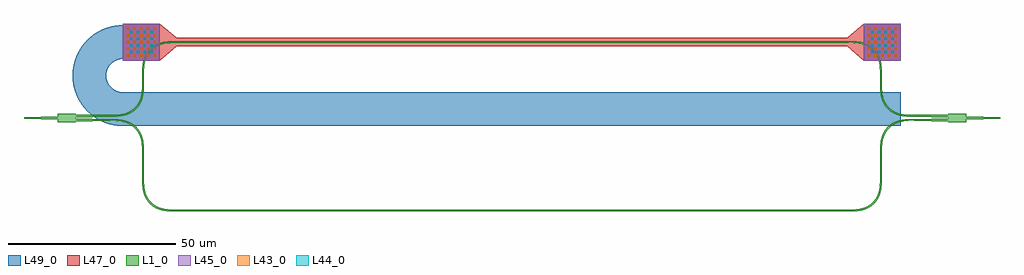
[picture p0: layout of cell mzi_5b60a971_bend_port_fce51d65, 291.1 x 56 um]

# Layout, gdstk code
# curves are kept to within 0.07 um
from math import pi, radians
import gdstk
lib = gdstk.Library(unit=1e-6, precision=1e-09)
def R(c, l, rs):  # rectangles x0, y0, x1, y1
    for r in rs: c.add(gdstk.rectangle(r[:2], r[2:], *l))
def P(c, l, *ps):  # polygons
    for p in ps: c.add(gdstk.Polygon(p, *l))
L1_0 = (1, 0)
L43_0 = (43, 0)
L44_0 = (44, 0)
L45_0 = (45, 0)
L47_0 = (47, 0)
L49_0 = (49, 0)

mmi1x2 = lib.new_cell('mmi1x2')
R(mmi1x2, L1_0, [(0,-1.25,5.5,1.25)])
P(mmi1x2, L1_0, [(-10,0.25),(0,0.5),(0,-0.5),(-10,-0.25)],
  [(15.5,0.375),(5.5,0.125),(5.5,1.125),(15.5,0.875)],
  [(15.5,-0.875),(5.5,-1.125),(5.5,-0.125),(15.5,-0.375)])

bend_euler = lib.new_cell('bend_euler')
P(bend_euler, L1_0, [(0,-0.25),(2.724,-0.165),(3.761,-0.026),(4.739,0.201),(5.691,0.544),(6.428,0.918),(7.158,1.402),(7.859,2.003),(8.479,2.689),(9.033,3.488),(9.456,4.309),(9.799,5.261),(10.026,6.239),(10.165,7.276),(10.25,10),(9.75,10),(9.634,7.004),(9.463,5.971),(9.18,4.971),(8.508,3.59),(7.575,2.425),(6.41,1.492),(5.029,0.82),(4.029,0.537),(2.996,0.366),(0,0.25)])

straight_a4be237b = lib.new_cell('straight_a4be237b')
R(straight_a4be237b, L1_0, [(0,-0.25,7,0.25)])

straight_bac520ba = lib.new_cell('straight_bac520ba')
R(straight_bac520ba, L1_0, [(0,-0.25,200,0.25)])

straight_fba69bc3 = lib.new_cell('straight_fba69bc3')
R(straight_fba69bc3, L1_0, [(0,-0.25,2,0.25)])

straight_656999d7 = lib.new_cell('straight_656999d7')
R(straight_656999d7, L1_0, [(0,-0.25,28,0.25)])
R(straight_656999d7, L47_0, [(0,-1.25,28,1.25)])

straight_7d548e91 = lib.new_cell('straight_7d548e91')
R(straight_7d548e91, L1_0, [(0,-0.25,30,0.25)])
R(straight_7d548e91, L47_0, [(0,-1.25,30,1.25)])

straight_295d0551 = lib.new_cell('straight_295d0551')
R(straight_295d0551, L1_0, [(0,-0.25,6,0.25)])
R(straight_295d0551, L47_0, [(0,-1.25,6,1.25)])

component_sequence_eb75e = lib.new_cell('component_sequence_eb75e3e9')
component_sequence_eb75e.add(gdstk.Reference(straight_656999d7, (0,0)))
component_sequence_eb75e.add(gdstk.Reference(straight_7d548e91, (28,0)))
component_sequence_eb75e.add(gdstk.Reference(straight_295d0551, (58,0)))
component_sequence_eb75e.add(gdstk.Reference(straight_7d548e91, (64,0)))
component_sequence_eb75e.add(gdstk.Reference(straight_295d0551, (94,0)))
component_sequence_eb75e.add(gdstk.Reference(straight_7d548e91, (100,0)))
component_sequence_eb75e.add(gdstk.Reference(straight_295d0551, (130,0)))
component_sequence_eb75e.add(gdstk.Reference(straight_7d548e91, (136,0)))
component_sequence_eb75e.add(gdstk.Reference(straight_295d0551, (166,0)))
component_sequence_eb75e.add(gdstk.Reference(straight_656999d7, (172,0)))

compass_41b06480 = lib.new_cell('compass_41b06480')
R(compass_41b06480, L47_0, [(-5.5,-5.5,5.5,5.5)])

compass_a8526bc0 = lib.new_cell('compass_a8526bc0')
R(compass_a8526bc0, L45_0, [(-5.5,-5.5,5.5,5.5)])

compass_580ae069 = lib.new_cell('compass_580ae069')
R(compass_580ae069, L49_0, [(-5.5,-5.5,5.5,5.5)])

via_df374226 = lib.new_cell('via_df374226')
R(via_df374226, L44_0, [(-0.35,-0.35,0.35,0.35)])

via_acdc145d = lib.new_cell('via_acdc145d')
R(via_acdc145d, L43_0, [(-0.35,-0.35,0.35,0.35)])

contact_bae24d69 = lib.new_cell('contact_bae24d69')
contact_bae24d69.add(gdstk.Reference(compass_41b06480, (0,0)))
contact_bae24d69.add(gdstk.Reference(compass_a8526bc0, (0,0)))
contact_bae24d69.add(gdstk.Reference(compass_580ae069, (0,0)))
r = gdstk.Reference(via_df374226, (-3,-3)); r.repetition = gdstk.Repetition(4, 4, v1=(2,0), v2=(0,2)); contact_bae24d69.add(r)
r = gdstk.Reference(via_acdc145d, (-4,-4)); r.repetition = gdstk.Repetition(5, 5, v1=(2,0), v2=(0,2)); contact_bae24d69.add(r)

taper_a1c36362 = lib.new_cell('taper_a1c36362')
P(taper_a1c36362, L47_0, [(0,5.5),(5,1.25),(5,-1.25),(0,-5.5)])

straight_heater_metal_u_ = lib.new_cell('straight_heater_metal_u_84612895')
straight_heater_metal_u_.add(gdstk.Reference(component_sequence_eb75e, (0,0)))
straight_heater_metal_u_.add(gdstk.Reference(contact_bae24d69, (-10.5,0)))
straight_heater_metal_u_.add(gdstk.Reference(contact_bae24d69, (210.5,0)))
straight_heater_metal_u_.add(gdstk.Reference(taper_a1c36362, (-5,0)))
straight_heater_metal_u_.add(gdstk.Reference(taper_a1c36362, (205,0), rotation=pi))

straight_5b70f7d2 = lib.new_cell('straight_5b70f7d2')
R(straight_5b70f7d2, L1_0, [(0,-0.25,0.09,0.25)])

straight_c49ce9c6 = lib.new_cell('straight_c49ce9c6')
R(straight_c49ce9c6, L1_0, [(0,-0.25,0.01,0.25)])

mzi_5b60a971 = lib.new_cell('mzi_5b60a971')
mzi_5b60a971.add(gdstk.Reference(mmi1x2, (0,0)))
mzi_5b60a971.add(gdstk.Reference(mmi1x2, (271.1,0), rotation=pi, x_reflection=True))
mzi_5b60a971.add(gdstk.Reference(bend_euler, (15.5,-0.625), x_reflection=True))
mzi_5b60a971.add(gdstk.Reference(straight_a4be237b, (25.5,-10.625), rotation=3*pi/2))
mzi_5b60a971.add(gdstk.Reference(bend_euler, (25.5,-17.625), rotation=3*pi/2))
mzi_5b60a971.add(gdstk.Reference(straight_bac520ba, (35.5,-27.625)))
mzi_5b60a971.add(gdstk.Reference(bend_euler, (15.5,0.625)))
mzi_5b60a971.add(gdstk.Reference(straight_fba69bc3, (25.5,10.625), rotation=pi/2))
mzi_5b60a971.add(gdstk.Reference(bend_euler, (35.5,22.625), rotation=pi))
mzi_5b60a971.add(gdstk.Reference(straight_heater_metal_u_, (35.5,22.625)))
mzi_5b60a971.add(gdstk.Reference(bend_euler, (235.59,22.625), x_reflection=True))
mzi_5b60a971.add(gdstk.Reference(bend_euler, (245.59,10.625), rotation=3*pi/2))
mzi_5b60a971.add(gdstk.Reference(straight_5b70f7d2, (235.5,22.625)))
mzi_5b60a971.add(gdstk.Reference(straight_fba69bc3, (245.59,12.625), rotation=3*pi/2))
mzi_5b60a971.add(gdstk.Reference(straight_c49ce9c6, (255.59,0.625)))
mzi_5b60a971.add(gdstk.Reference(bend_euler, (235.59,-27.625)))
mzi_5b60a971.add(gdstk.Reference(bend_euler, (245.59,-10.625), rotation=pi/2, x_reflection=True))
mzi_5b60a971.add(gdstk.Reference(straight_5b70f7d2, (235.5,-27.625)))
mzi_5b60a971.add(gdstk.Reference(straight_a4be237b, (245.59,-17.625), rotation=pi/2))
mzi_5b60a971.add(gdstk.Reference(straight_c49ce9c6, (255.59,-0.625)))

bend_circular_8590c464 = lib.new_cell('bend_circular_8590c464')
P(bend_circular_8590c464, L49_0, [(0,-5),(2.87,-4.723),(5.634,-3.902),(8.19,-2.567),(9.36,-1.722),(10.537,-0.676),(12.385,1.537),(13.204,2.882),(13.827,4.184),(14.684,6.937),(14.924,8.493),(15,9.934),(14.735,12.806),(14.36,14.335),(13.877,15.695),(12.531,18.245),(11.681,19.411),(10.63,20.583),(8.408,22.422),(7.06,23.235),(5.755,23.852),(4.272,24.379),(2.87,24.723),(0,25),(0,15),(0.957,14.908),(1.878,14.634),(2.803,14.141),(3.512,13.559),(4.153,12.785),(4.592,11.979),(4.895,11.021),(5,10.066),(4.912,9.065),(4.626,8.102),(4.153,7.215),(3.574,6.503),(2.803,5.859),(1.959,5.4),(0.957,5.092),(0,5)])

straight_ed7624ff = lib.new_cell('straight_ed7624ff')
R(straight_ed7624ff, L49_0, [(0,-5,232,5)])

mzi_5b60a971_bend_port_f = lib.new_cell('mzi_5b60a971_bend_port_fce51d65')
mzi_5b60a971_bend_port_f.add(gdstk.Reference(mzi_5b60a971, (0,0)))
mzi_5b60a971_bend_port_f.add(gdstk.Reference(bend_circular_8590c464, (19.5,22.625), rotation=pi))
mzi_5b60a971_bend_port_f.add(gdstk.Reference(straight_ed7624ff, (251.5,2.625), rotation=pi))

lib.write_gds('mzi_5b60a971_bend_port_fce51d65.gds')
